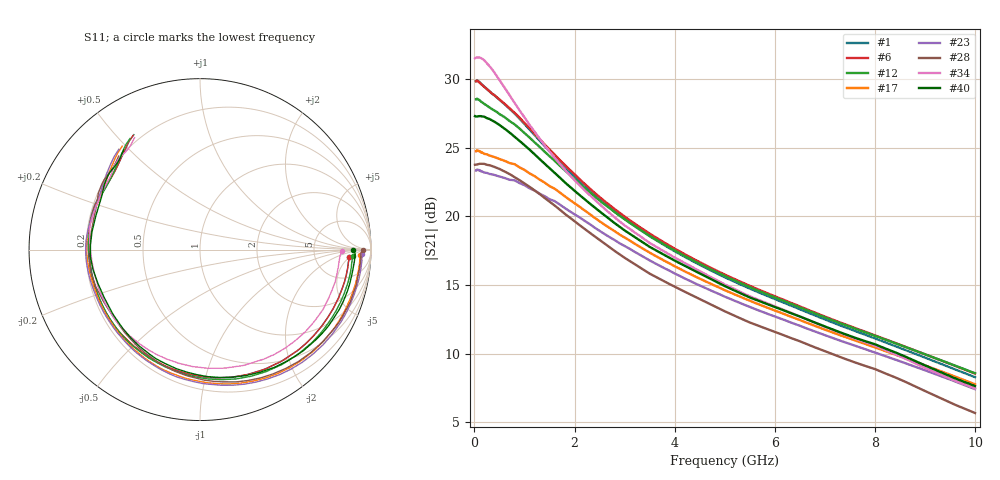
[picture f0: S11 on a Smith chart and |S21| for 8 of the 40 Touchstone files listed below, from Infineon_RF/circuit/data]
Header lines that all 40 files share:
! Infineon Technologies  Discrete & RF Semiconductors
# GHz  S  MA  R  50
!  f  S11  S21  S12  S22
! GHz  MAG  ANG  MAG  ANG  MAG  ANG  MAG  ANG
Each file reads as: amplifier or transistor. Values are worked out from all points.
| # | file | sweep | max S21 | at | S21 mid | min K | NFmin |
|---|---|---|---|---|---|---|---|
| 1 | BFP740F_w_noise_VCE_1.5V_IC_12mA.s2p | 30 MHz to 10 GHz | 29.9 dB | 50 MHz | 18.6 dB at 3.5 GHz | -0.06 | 0.48 dB |
| 2 | BFP740F_w_noise_VCE_1.5V_IC_15mA.s2p | 30 MHz to 10 GHz | 31.4 dB | 50 MHz | 18.8 dB at 3.5 GHz | -0.17 | 0.53 dB |
| 3 | BFP740F_w_noise_VCE_2.0V_IC_1.0mA.s2p | 30 MHz to 10 GHz | 11.2 dB | 110 MHz | 8.7 dB at 3.5 GHz | -0.11 | 0.44 dB |
| 4 | BFP740F_w_noise_VCE_2.0V_IC_4.0mA.s2p | 30 MHz to 10 GHz | 21.9 dB | 50 MHz | 15.9 dB at 3.5 GHz | -0.16 | 0.36 dB |
| 5 | BFP740F_w_noise_VCE_2.0V_IC_10mA.s2p | 30 MHz to 10 GHz | 28.6 dB | 50 MHz | 18.4 dB at 3.5 GHz | -0.06 | 0.44 dB |
| 6 | BFP740F_w_noise_VCE_2.0V_IC_12mA.s2p | 30 MHz to 10 GHz | 29.9 dB | 50 MHz | 18.7 dB at 3.5 GHz | -0.04 | 0.48 dB |
| 7 | BFP740F_w_noise_VCE_2.5V_IC_15mA.s2p | 30 MHz to 10 GHz | 31.4 dB | 50 MHz | 19.2 dB at 3.5 GHz | -0.06 | 0.53 dB |
| 8 | BFP740F_w_noise_VCE_3.0V_IC_2.0mA.s2p | 30 MHz to 10 GHz | 16.5 dB | 120 MHz | 12.8 dB at 3.5 GHz | -0.12 | 0.37 dB |
| 9 | BFP740F_w_noise_VCE_3.0V_IC_5.0mA.s2p | 30 MHz to 10 GHz | 23.4 dB | 50 MHz | 16.7 dB at 3.5 GHz | 0.00 | 0.37 dB |
| 10 | BFP740F_w_noise_VCE_3.0V_IC_6.0mA.s2p | 30 MHz to 10 GHz | 24.9 dB | 50 MHz | 17.3 dB at 3.5 GHz | -0.05 | 0.39 dB |
| 11 | BFP740F_w_noise_VCE_3.0V_IC_8.0mA.s2p | 30 MHz to 10 GHz | 27.0 dB | 50 MHz | 18.1 dB at 3.5 GHz | -0.03 | 0.42 dB |
| 12 | BFP740F_w_noise_VCE_3.0V_IC_10mA.s2p | 30 MHz to 10 GHz | 28.6 dB | 50 MHz | 18.6 dB at 3.5 GHz | -0.21 | 0.44 dB |
| 13 | BFP740F_w_noise_VCE_3.0V_IC_20mA.s2p | 30 MHz to 10 GHz | 33.1 dB | 50 MHz | 19.5 dB at 3.5 GHz | -0.15 | 0.64 dB |
| 14 | BFP740F_w_noise_VCE_3.5V_IC_1.0mA.s2p | 30 MHz to 10 GHz | 11.2 dB | 120 MHz | 8.8 dB at 3.5 GHz | -0.04 | 0.44 dB |
| 15 | BFP740F_w_noise_VCE_3.5V_IC_2.0mA.s2p | 30 MHz to 10 GHz | 16.5 dB | 100 MHz | 12.8 dB at 3.5 GHz | -0.08 | 0.37 dB |
| 16 | BFP740F_w_noise_VCE_3.5V_IC_4.0mA.s2p | 30 MHz to 10 GHz | 21.9 dB | 50 MHz | 16.0 dB at 3.5 GHz | -0.02 | 0.36 dB |
| 17 | BFP740F_w_noise_VCE_3.5V_IC_6.0mA.s2p | 30 MHz to 10 GHz | 24.8 dB | 50 MHz | 17.4 dB at 3.5 GHz | 0.01 | 0.39 dB |
| 18 | BFP740F_w_noise_VCE_3.5V_IC_8.0mA.s2p | 30 MHz to 10 GHz | 27.0 dB | 50 MHz | 18.1 dB at 3.5 GHz | -0.02 | 0.42 dB |
| 19 | BFP740F_w_noise_VCE_3.5V_IC_10mA.s2p | 30 MHz to 10 GHz | 28.6 dB | 50 MHz | 18.6 dB at 3.5 GHz | -0.25 | 0.44 dB |
| 20 | BFP740F_w_noise_VCE_3.5V_IC_15mA.s2p | 30 MHz to 10 GHz | 31.3 dB | 50 MHz | 19.3 dB at 3.5 GHz | -0.09 | 0.53 dB |
| 21 | BFP740F_w_noise_VCE_4.0V_IC_1.0mA.s2p | 30 MHz to 10 GHz | 11.2 dB | 120 MHz | 8.8 dB at 3.5 GHz | -0.03 | 0.44 dB |
| 22 | BFP740F_w_noise_VCE_4.0V_IC_4.0mA.s2p | 30 MHz to 10 GHz | 21.9 dB | 50 MHz | 16.1 dB at 3.5 GHz | 0.05 | 0.36 dB |
| 23 | BFP740F_w_noise_VCE_4.0V_IC_5.0mA.s2p | 30 MHz to 10 GHz | 23.4 dB | 50 MHz | 16.8 dB at 3.5 GHz | -0.01 | 0.37 dB |
| 24 | BFP740F_w_noise_VCE_4.0V_IC_8.0mA.s2p | 30 MHz to 10 GHz | 26.9 dB | 50 MHz | 18.2 dB at 3.5 GHz | 0.07 | 0.42 dB |
| 25 | BFP740F_w_noise_VCE_4.0V_IC_12mA.s2p | 30 MHz to 10 GHz | 29.8 dB | 50 MHz | 19.0 dB at 3.5 GHz | 0.08 | 0.48 dB |
| 26 | BFP740F_w_noise_VCE_4.0V_IC_15mA.s2p | 30 MHz to 10 GHz | 31.2 dB | 50 MHz | 19.3 dB at 3.5 GHz | 0.14 | 0.53 dB |
| 27 | BFP740F_w_noise_VCE_4.0V_IC_20mA.s2p | 30 MHz to 10 GHz | 32.9 dB | 30 MHz | 19.6 dB at 3.5 GHz | 0.16 | 0.64 dB |
| 28 | BFP740FESD_VCE_1.0V_IC_5.0mA.s2p | 10 MHz to 10 GHz | 23.8 dB | 150 MHz | 20.4 dB at 1.74 GHz | -0.02 | - |
| 29 | BFP740FESD_VCE_2.0V_IC_5.0mA.s2p | 10 MHz to 10 GHz | 23.8 dB | 150 MHz | 20.7 dB at 1.74 GHz | -0.62 | - |
| 30 | BFP740FESD_VCE_4.0V_IC_5.0mA.s2p | 10 MHz to 10 GHz | 23.8 dB | 10 MHz | 20.8 dB at 1.74 GHz | 0.06 | - |
| 31 | BFP740FESD_w_noise_VCE_1.0V_IC_1.0mA.s2p | 10 MHz to 10 GHz | 11.0 dB | 340 MHz | 10.2 dB at 1.74 GHz | -0.62 | 0.46 dB |
| 32 | BFP740FESD_w_noise_VCE_1.0V_IC_6.0mA.s2p | 10 MHz to 10 GHz | 25.2 dB | 100 MHz | 21.2 dB at 1.74 GHz | -0.01 | 0.52 dB |
| 33 | BFP740FESD_w_noise_VCE_1.0V_IC_8.0mA.s2p | 10 MHz to 10 GHz | 27.3 dB | 100 MHz | 22.2 dB at 1.74 GHz | 0.01 | 0.56 dB |
| 34 | BFP740FESD_w_noise_VCE_1.0V_IC_15mA.s2p | 10 MHz to 10 GHz | 31.6 dB | 100 MHz | 23.7 dB at 1.74 GHz | 0.01 | 0.70 dB |
| 35 | BFP740FESD_w_noise_VCE_1.0V_IC_20mA.s2p | 10 MHz to 10 GHz | 33.2 dB | 50 MHz | 23.8 dB at 1.74 GHz | 0.06 | 0.80 dB |
| 36 | BFP740FESD_w_noise_VCE_1.0V_IC_35mA.s2p | 10 MHz to 10 GHz | 24.7 dB | 20 MHz | 11.9 dB at 1.74 GHz | 1.14 | 1.06 dB |
| 37 | BFP740FESD_w_noise_VCE_2.0V_IC_1.0mA.s2p | 10 MHz to 10 GHz | 11.0 dB | 340 MHz | 10.4 dB at 1.74 GHz | -0.25 | 0.46 dB |
| 38 | BFP740FESD_w_noise_VCE_2.0V_IC_4.0mA.s2p | 10 MHz to 10 GHz | 22.1 dB | 150 MHz | 19.6 dB at 1.74 GHz | -0.58 | 0.46 dB |
| 39 | BFP740FESD_w_noise_VCE_2.0V_IC_6.0mA.s2p | 10 MHz to 10 GHz | 25.2 dB | 100 MHz | 21.6 dB at 1.74 GHz | -0.04 | 0.52 dB |
| 40 | BFP740FESD_w_noise_VCE_2.0V_IC_8.0mA.s2p | 10 MHz to 10 GHz | 27.3 dB | 100 MHz | 22.7 dB at 1.74 GHz | -0.04 | 0.56 dB |

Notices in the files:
2_Circuitos/LNA/simulaciones/Infineon_RF/circuit/data/BFP740FESD_VCE_1.0V_IC_5.0mA.s2p:
(c) 2016  Infineon Technologies AG, Munich
2_Circuitos/LNA/simulaciones/Infineon_RF/circuit/data/BFP740F_w_noise_VCE_1.5V_IC_12mA.s2p:
(c) 2012  Infineon Technologies AG, Munich
